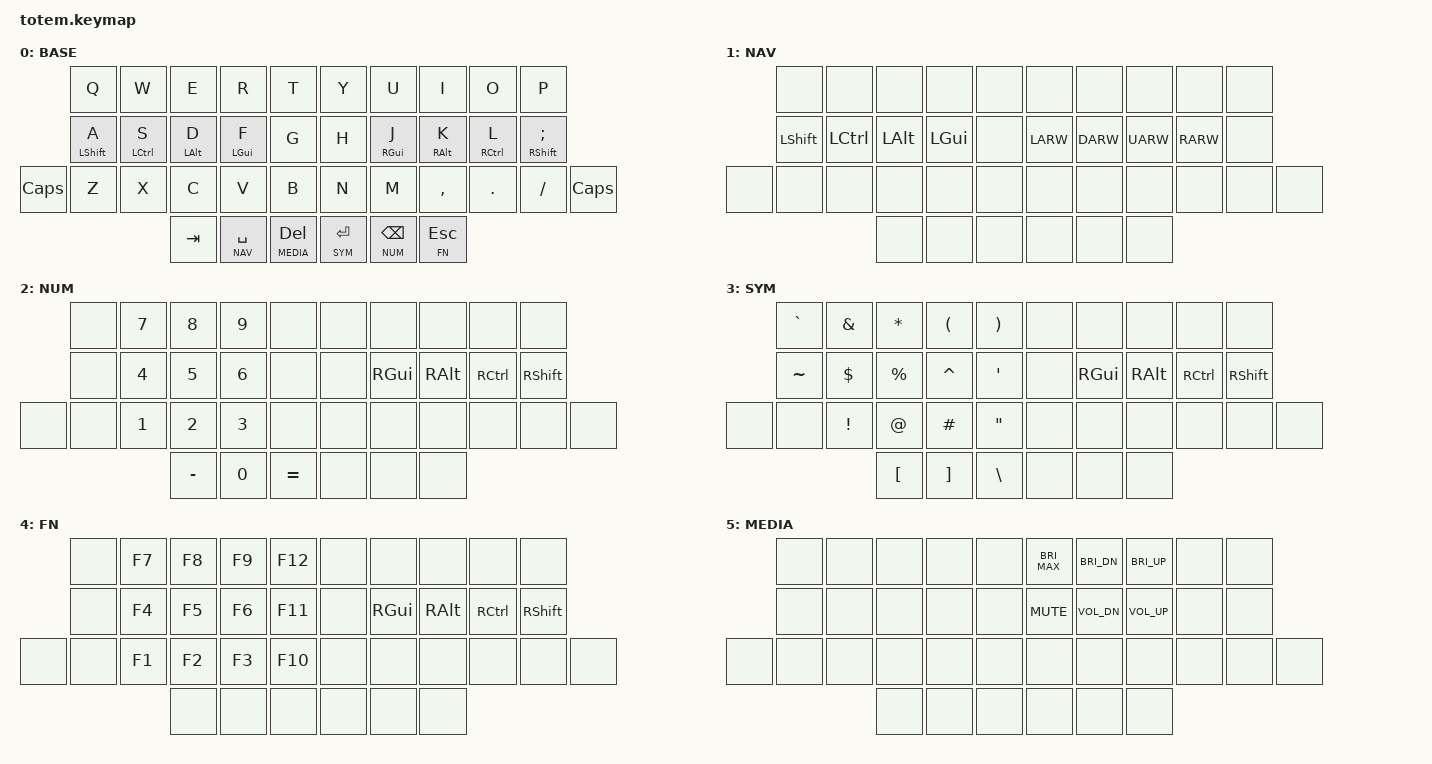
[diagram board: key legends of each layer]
//
//                                                        ▀▀▀▀▀     ▀▀▀▀▀          ▀▀█▀▀
//                                                        ▄▀▀▀▄  ▄  ▄▀▀▀▄  ▄  ▄▀▀▀▄  █  ▄▀▀▀▄
//                                                        █   █  █  █   █  █  █   █  █  █   █
//                                                         ▀▀▀   █   ▀▀▀   █   ▀▀▀   ▀   ▀▀▀
//                                                               █      ▄▄▄█▄▄▄    █   █  
//                                                               ▀      █  █  █     █▄█
//                                                             ▀▀▀▀▀    █  █  █      ▀
//                                                                      ▀  ▀  ▀
//
// ▄▄▄▄▄▄▄▄▄▄▄▄▄▄▄▄▄▄▄▄▄▄▄▄▄▄▄▄▄▄▄▄▄▄▄▄▄▄▄▄▄▄▄▄▄▄▄▄▄▄▄▄▄▄▄▄▄▄▄▄▄▄▄▄▄▄▄▄▄▄▄▄▄▄▄▄▄▄▄▄▄▄▄▄▄▄▄▄▄▄▄▄▄▄▄▄▄▄▄▄▄▄▄▄▄▄▄▄▄▄▄▄▄▄▄▄▄▄▄▄▄▄▄▄▄▄▄▄▄▄▄▄▄▄▄▄▄▄▄▄▄▄▄▄▄▄▄▄▄

#include <behaviors.dtsi>
#include <dt-bindings/zmk/keys.h>
#include <dt-bindings/zmk/bt.h>
#include <dt-bindings/zmk/outputs.h>

#define BASE  0
#define NAV   1
#define NUM   2
#define SYM   3
#define FN    4
#define MEDIA 5

&lt {
  quick-tap-ms = <175>;
};

/ {
  behaviors {
    hml: homerow_mod_left {
      compatible = "zmk,behavior-hold-tap";
      label = "HOMEROW_MOD_LEFT";
      flavor = "balanced";
      tapping-term-ms = <300>;
      quick-tap-ms = <175>;
      require-prior-idle-ms = <150>;
      #binding-cells = <2>;
      bindings = <&kp>, <&kp>;
      hold-trigger-key-positions = <5 6 7 8 9 15 16 17 18 19 26 27 28 29 30 31 35 36 37>;
      hold-trigger-on-release;
    };
    hmr: homerow_mod_right {
      compatible = "zmk,behavior-hold-tap";
      label = "HOMEROW_MOD_RIGHT";
      flavor = "balanced";
      tapping-term-ms = <300>;
      quick-tap-ms = <175>;
      require-prior-idle-ms = <150>;
      #binding-cells = <2>;
      bindings = <&kp>, <&kp>;
      hold-trigger-key-positions = <0 1 2 3 4 10 11 12 13 14 20 21 22 23 24 25 32 33 34>;
      hold-trigger-on-release;
    };
    hsl: homerow_shift_left {
      compatible = "zmk,behavior-hold-tap";
      label = "HOMEROW_SHIFT_LEFT";
      flavor = "balanced";
      tapping-term-ms = <200>;
      quick-tap-ms = <175>;
      require-prior-idle-ms = <150>;
      #binding-cells = <2>;
      bindings = <&kp>, <&kp>;
      hold-trigger-key-positions = <5 6 7 8 9 15 16 17 18 19 26 27 28 29 30 31 35 36 37>;
      hold-trigger-on-release;
    };
    hsr: homerow_shift_right {
      compatible = "zmk,behavior-hold-tap";
      label = "HOMEROW_SHIFT_RIGHT";
      flavor = "balanced";
      tapping-term-ms = <200>;
      quick-tap-ms = <175>;
      require-prior-idle-ms = <150>;
      #binding-cells = <2>;
      bindings = <&kp>, <&kp>;
      hold-trigger-key-positions = <0 1 2 3 4 10 11 12 13 14 20 21 22 23 24 25 32 33 34>;
      hold-trigger-on-release;
    };
  };
  keymap {
    compatible = "zmk,keymap";
    base_layer {
      label = "BASE";
      bindings = <
                    &kp Q         &kp W         &kp E       &kp R         &kp T                   &kp Y         &kp U         &kp I         &kp O         &kp P
                    &hsl LSHFT A  &hml LCTRL S  &hml LALT D &hml LGUI F   &kp G                   &kp H         &hmr RGUI J   &hmr RALT K   &hmr RCTRL L  &hsr RSHFT SEMI
        &kp CAPS    &kp Z         &kp X         &kp C       &kp V         &kp B                   &kp N         &kp M         &kp COMMA     &kp DOT       &kp FSLH          &kp CAPS
                                                &kp TAB     &lt NAV SPACE &lt MEDIA DEL           &lt SYM RET   &lt NUM BSPC  &lt FN ESC
      >;
    };
    nav_layer {
      label = "NAV";
      bindings = <
                &none       &none       &none       &none         &none           &none       &none       &none     &none     &none
                &kp LSHFT   &kp LCTRL   &kp LALT    &kp LGUI      &none           &kp LARW    &kp DARW    &kp UARW  &kp RARW  &none
        &none   &none       &none       &none       &none         &none           &none       &none       &none     &none     &none   &none
                                        &none       &none         &none           &none       &none       &none
      >;
    };
    num_layer {
      label = "NUM";
      bindings = <
                &none   &kp N7    &kp N8      &kp N9    &none           &none   &none       &none       &none       &none
                &none   &kp N4    &kp N5      &kp N6    &none           &none   &kp RGUI    &kp RALT    &kp RCTRL   &kp RSHFT
        &none   &none   &kp N1    &kp N2      &kp N3    &none           &none   &none       &none       &none       &none       &none
                                  &kp MINUS   &kp N0    &kp EQUAL       &none   &none       &none
      >;
    };
    sym_layer {
      label = "SYM";
      bindings = <
                &kp GRAVE   &kp AMPS  &kp ASTRK &kp LPAR  &kp RPAR        &none   &none       &none       &none       &none
                &kp TILDE   &kp DLLR  &kp PRCNT &kp CARET &kp SQT         &none   &kp RGUI    &kp RALT    &kp RCTRL   &kp RSHFT
        &none   &none       &kp EXCL  &kp AT    &kp HASH  &kp DQT         &none   &none       &none       &none       &none       &none
                                      &kp LBKT  &kp RBKT  &kp BSLH        &none   &none       &none
      >;
    };
    fn_layer {
      label = "FN";
      bindings = <
                &none   &kp F7    &kp F8    &kp F9    &kp F12         &none   &none       &none       &none       &none
                &none   &kp F4    &kp F5    &kp F6    &kp F11         &none   &kp RGUI    &kp RALT    &kp RCTRL   &kp RSHFT
        &none   &none   &kp F1    &kp F2    &kp F3    &kp F10         &none   &none       &none       &none       &none       &none
                                  &none     &none     &none           &none   &none       &none
      >;
    };
    media_layer {
      label = "MEDIA";
      bindings = <
                &none   &none   &none   &none   &none           &kp C_BRI_MAX   &kp C_BRI_DN    &kp C_BRI_UP    &none   &none
                &none   &none   &none   &none   &none           &kp K_MUTE      &kp K_VOL_DN    &kp K_VOL_UP    &none   &none
        &none   &none   &none   &none   &none   &none           &none           &none           &none           &none   &none   &none
                                        &none   &none           &none           &none           &none           &none
      >;
    };
  };
};
